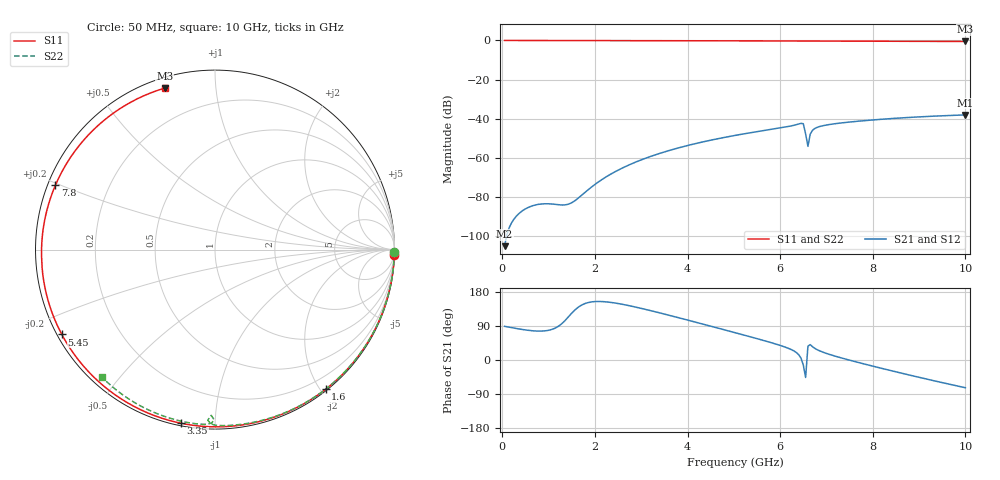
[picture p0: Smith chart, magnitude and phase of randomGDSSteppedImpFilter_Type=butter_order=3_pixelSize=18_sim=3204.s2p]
! freq	dB(S11)	phase(S11)	dB(S12)	phase(S12)
!  dB(S21)	phase(S21)	dB(S22)	phase(S22)
!S-par simulation data
#  GHz  S  DB  R 50
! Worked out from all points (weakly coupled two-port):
!   200 points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, 50 MHz to 10 GHz, reference 50 ohm
!   highest |S21| = -38.00 dB at 10 GHz (marker M1); lowest = -105.0 dB at 50 MHz (marker M2)
!   lowest |S11| = -0.5 dB at 10 GHz (marker M3), VSWR 33.69, Z = 2.29 + j36.8 ohm
!   |S11| at or under -10 dB: nowhere
!   |S22| runs from -0.7 to 0.0 dB; largest |S21 - S12| = 0
!   S11 on the Smith chart (normalised r, x): 50 MHz: 0, -68; 1.6 GHz: 0.02, -2.07; 3.35 GHz: 0.01, -0.82; 5.45 GHz: 0.01, -0.26; 7.8 GHz: 0.02, +0.19; 10 GHz: 0.05, +0.74
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0.05  -0.00 -1.7  -104.99 88.8  -104.99 88.8  -0.00 -0.8
0.8  -0.03 -26.4  -83.57 76.2  -83.57 76.2  -0.02 -12.1
1.6  -0.06 -51.7  -81.22 135.5  -81.22 135.5  -0.03 -24.0
1.65  -0.07 -53.2  -80.27 140.2  -80.27 140.2  -0.03 -24.7
1.75  -0.07 -56.2  -78.26 147.1  -78.26 147.1  -0.03 -26.2
2.1  -0.08 -66.7  -71.81 154.4  -71.81 154.4  -0.04 -31.3
2.45  -0.09 -76.7  -66.81 150.1  -66.81 150.1  -0.05 -36.4
3.35  -0.12 -101.1  -58.01 125.9  -58.01 125.9  -0.07 -49.2
3.4  -0.12 -102.4  -57.63 124.3  -57.63 124.3  -0.07 -49.9
4.15  -0.15 -121.1  -52.76 100.6  -52.76 100.6  -0.08 -60.3
5.05  -0.19 -142.1  -48.36 71.4  -48.36 71.4  -0.11 -72.3
5.45  -0.21 -151.0  -46.74 58.1  -46.74 58.1  -0.12 -77.5
6.5  -0.28 -173.9  -42.48 -13.3  -42.48 -13.3  -0.44 -92.4
6.6  -0.29 -176.0  -54.04 36.6  -54.04 36.6  -0.45 -90.3
6.65  -0.29 -177.1  -47.75 40.5  -47.75 40.5  -0.30 -91.1
6.7  -0.29 -178.2  -45.85 35.0  -45.85 35.0  -0.25 -92.0
6.8  -0.30 179.7  -44.35 27.2  -44.35 27.2  -0.22 -93.6
7  -0.31 175.4  -43.15 17.3  -43.15 17.3  -0.21 -96.3
7.8  -0.37 158.0  -40.96 -10.0  -40.96 -10.0  -0.25 -106.1
8.35  -0.41 145.8  -39.94 -26.8  -39.94 -26.8  -0.29 -112.5
9.25  -0.47 125.2  -38.70 -52.8  -38.70 -52.8  -0.37 -122.9
10  -0.52 107.3  -38.00 -73.2  -38.00 -73.2  -0.45 -131.4
